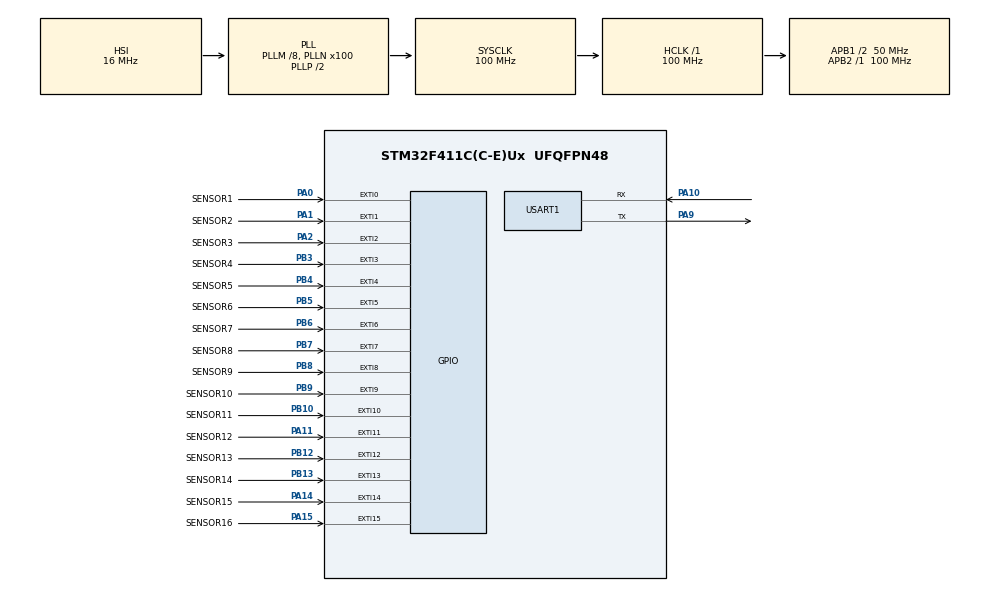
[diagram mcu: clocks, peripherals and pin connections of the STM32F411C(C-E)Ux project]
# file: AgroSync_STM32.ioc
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Dma.Request0=USART1_RX
Dma.Request1=USART1_TX
Dma.USART1_RX.0.Direction=DMA_PERIPH_TO_MEMORY
Dma.USART1_RX.0.FIFOMode=DMA_FIFOMODE_ENABLE
Dma.USART1_RX.0.FIFOThreshold=DMA_FIFO_THRESHOLD_FULL
Dma.USART1_RX.0.Instance=DMA2_Stream2
Dma.USART1_RX.0.MemBurst=DMA_MBURST_SINGLE
Dma.USART1_RX.0.MemDataAlignment=DMA_MDATAALIGN_BYTE
Dma.USART1_RX.0.MemInc=DMA_MINC_ENABLE
Dma.USART1_RX.0.Mode=DMA_CIRCULAR
Dma.USART1_RX.0.PeriphBurst=DMA_PBURST_SINGLE
Dma.USART1_RX.0.PeriphDataAlignment=DMA_PDATAALIGN_BYTE
Dma.USART1_RX.0.PeriphInc=DMA_PINC_DISABLE
Dma.USART1_RX.0.Priority=DMA_PRIORITY_LOW
Dma.USART1_TX.1.Direction=DMA_MEMORY_TO_PERIPH
Dma.USART1_TX.1.FIFOMode=DMA_FIFOMODE_DISABLE
Dma.USART1_TX.1.Instance=DMA2_Stream7
Dma.USART1_TX.1.MemDataAlignment=DMA_MDATAALIGN_BYTE
Dma.USART1_TX.1.MemInc=DMA_MINC_ENABLE
Dma.USART1_TX.1.Mode=DMA_NORMAL
Dma.USART1_TX.1.PeriphDataAlignment=DMA_PDATAALIGN_BYTE
Dma.USART1_TX.1.PeriphInc=DMA_PINC_DISABLE
Dma.USART1_TX.1.Priority=DMA_PRIORITY_LOW
Mcu.Family=STM32F4
Mcu.Name=STM32F411C(C-E)Ux
Mcu.Package=UFQFPN48
NVIC.DMA2_Stream2_IRQn=true\:0\:0\:false\:false\:true\:false\:true\:true
NVIC.DMA2_Stream7_IRQn=true\:0\:0\:false\:false\:true\:false\:true\:true
NVIC.EXTI0_IRQn=true\:0\:0\:false\:false\:true\:true\:true\:true
NVIC.EXTI15_10_IRQn=true\:0\:0\:false\:false\:true\:true\:true\:true
NVIC.EXTI1_IRQn=true\:0\:0\:false\:false\:true\:true\:true\:true
NVIC.EXTI2_IRQn=true\:0\:0\:false\:false\:true\:true\:true\:true
NVIC.EXTI3_IRQn=true\:0\:0\:false\:false\:true\:true\:true\:true
NVIC.EXTI4_IRQn=true\:0\:0\:false\:false\:true\:true\:true\:true
NVIC.EXTI9_5_IRQn=true\:0\:0\:false\:false\:true\:true\:true\:true
NVIC.PriorityGroup=NVIC_PRIORITYGROUP_4
NVIC.TIM1_UP_TIM10_IRQn=true\:0\:0\:false\:false\:true\:true\:true\:true
PA0-WKUP.GPIO_Label=SENSOR1
PA0-WKUP.GPIO_PuPd=GPIO_PULLUP
PA0-WKUP.Signal=GPXTI0
PA1.GPIO_Label=SENSOR2
PA1.GPIO_PuPd=GPIO_PULLUP
PA1.Signal=GPXTI1
PA10.Mode=Asynchronous
PA10.Signal=USART1_RX
PA11.GPIO_Label=SENSOR12
PA11.GPIO_PuPd=GPIO_PULLUP
PA11.Signal=GPXTI11
PA14.GPIO_Label=SENSOR15
PA14.GPIO_PuPd=GPIO_PULLUP
PA14.Signal=GPXTI14
PA15.GPIO_Label=SENSOR16
PA15.GPIO_PuPd=GPIO_PULLUP
PA15.Signal=GPXTI15
PA2.GPIO_Label=SENSOR3
PA2.GPIO_PuPd=GPIO_PULLUP
PA2.Signal=GPXTI2
PA9.Mode=Asynchronous
PA9.Signal=USART1_TX
PB10.GPIO_Label=SENSOR11
PB10.GPIO_PuPd=GPIO_PULLUP
PB10.Signal=GPXTI10
PB12.GPIO_Label=SENSOR13
PB12.GPIO_PuPd=GPIO_PULLUP
PB12.Signal=GPXTI12
PB13.GPIO_Label=SENSOR14
PB13.GPIO_PuPd=GPIO_PULLUP
PB13.Signal=GPXTI13
PB3.GPIO_Label=SENSOR4
PB3.GPIO_PuPd=GPIO_PULLUP
PB3.Signal=GPXTI3
PB4.GPIO_Label=SENSOR5
PB4.GPIO_PuPd=GPIO_PULLUP
PB4.Signal=GPXTI4
PB5.GPIO_Label=SENSOR6
PB5.GPIO_PuPd=GPIO_PULLUP
PB5.Signal=GPXTI5
PB6.GPIO_Label=SENSOR7
PB6.GPIO_PuPd=GPIO_PULLUP
PB6.Signal=GPXTI6
PB7.GPIO_Label=SENSOR8
PB7.GPIO_PuPd=GPIO_PULLUP
PB7.Signal=GPXTI7
PB8.GPIO_Label=SENSOR9
PB8.GPIO_PuPd=GPIO_PULLUP
PB8.Signal=GPXTI8
PB9.GPIO_Label=SENSOR10
PB9.GPIO_PuPd=GPIO_PULLUP
PB9.Signal=GPXTI9
PC14-OSC32_IN.Mode=LSE-External-Oscillator
PC14-OSC32_IN.Signal=RCC_OSC32_IN
PC15-OSC32_OUT.Mode=LSE-External-Oscillator
PC15-OSC32_OUT.Signal=RCC_OSC32_OUT
PH0\ -\ OSC_IN.Mode=HSE-External-Oscillator
PH0\ -\ OSC_IN.Signal=RCC_OSC_IN
PH1\ -\ OSC_OUT.Mode=HSE-External-Oscillator
PH1\ -\ OSC_OUT.Signal=RCC_OSC_OUT
ProjectManager.HeapSize=0x200
ProjectManager.StackSize=0x400
ProjectManager.TargetToolchain=STM32CubeIDE
RCC.48MHZClocksFreq_Value=50000000
RCC.AHBFreq_Value=100000000
RCC.APB1CLKDivider=RCC_HCLK_DIV2
RCC.APB1Freq_Value=50000000
RCC.APB1TimFreq_Value=100000000
RCC.APB2Freq_Value=100000000
RCC.APB2TimFreq_Value=100000000
RCC.CortexFreq_Value=100000000
RCC.HCLKFreq_Value=100000000
RCC.HSE_VALUE=25000000
RCC.HSI_VALUE=16000000
RCC.PLLM=8
RCC.PLLN=100
RCC.SYSCLKFreq_VALUE=100000000
RCC.SYSCLKSource=RCC_SYSCLKSOURCE_PLLCLK
RCC.VCOOutputFreq_Value=200000000
TIM10.Period=999
TIM10.Prescaler=99
TIM5.Prescaler=99
USART1.VirtualMode=VM_ASYNC
VP_TIM10_VS_ClockSourceINT.Mode=Enable_Timer
VP_TIM5_VS_ClockSourceINT.Mode=Internal
board=custom

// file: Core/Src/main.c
/* USER CODE BEGIN Header */
/**
 ******************************************************************************
 * @file           : main.c
 * @brief          : Main program body
 ******************************************************************************
 * @attention
 *
 * Copyright (c) 2025 STMicroelectronics.
 * All rights reserved.
 *
 * This software is licensed under terms that can be found in the LICENSE file
 * in the root directory of this software component.
 * If no LICENSE file comes with this software, it is provided AS-IS.
 *
 ******************************************************************************
 */
/* USER CODE END Header */
#include "main.h"

/* USER CODE BEGIN Includes */
#include "stdio.h"
#include "math.h"
#include "string.h"
/* USER CODE END Includes */

/* USER CODE BEGIN PD */
#define buffer_size 40
#define N_sense 16
#define TX_FIFO_SIZE 8
#define TX_MAX_SIZE 64
/* USER CODE END PD */

TIM_HandleTypeDef htim5;
TIM_HandleTypeDef htim10;

UART_HandleTypeDef huart1;
DMA_HandleTypeDef hdma_usart1_rx;
DMA_HandleTypeDef hdma_usart1_tx;

/* USER CODE BEGIN PV */
//-----------------------Variáveis de controle de taxa ----------------------------
volatile uint32_t last_tick[16] = { 0, 0, 0, 0, 0, 0, 0, 0, 0, 0, 0, 0, 0, 0, 0, 0 };
volatile float freq[N_sense] = { 0, 0, 0, 0, 0, 0, 0, 0, 0, 0, 0, 0, 0, 0, 0, 0 };
uint8_t freq_SD[N_sense * 2] = { 0, 0, 0, 0, 0, 0, 0, 0, 0, 0, 0, 0, 0, 0, 0, 0, 0, 0, 0,
		0, 0, 0, 0, 0, 0, 0, 0, 0, 0, 0, 0, 0 };
volatile uint16_t cont_seed[N_sense] = { 0, 0, 0, 0, 0, 0, 0, 0, 0, 0, 0, 0, 0, 0, 0, 0 };
uint8_t cont_seed_SD[N_sense * 2] = { 0, 0, 0, 0, 0, 0, 0, 0, 0, 0, 0, 0, 0, 0,
		0, 0, 0, 0, 0, 0, 0, 0, 0, 0, 0, 0, 0, 0, 0, 0, 0, 0 };
volatile uint32_t cont_send_seed = 0;
volatile uint32_t cont_send_freq = 0;
uint32_t temp_send_seed = 300;
uint32_t temp_send_freq = 300;
volatile uint32_t cont_zero[N_sense] = { 0, 0, 0, 0, 0, 0, 0, 0, 0, 0, 0, 0, 0, 0, 0, 0 };
// ----------- Variáveis de controle de envio e recebimento de mensagens -------------------
uint8_t bufferRx[buffer_size] = { 0, 0, 0, 0, 0, 0, 0, 0, 0, 0, 0, 0, 0, 0, 0,
		0, 0, 0, 0, 0, 0, 0, 0, 0, 0, 0, 0, 0, 0, 0, 0, 0, 0, 0, 0, 0, 0, 0, 0,
		0 };
uint8_t message_RX[buffer_size] = { 0, 0, 0, 0, 0, 0, 0, 0, 0, 0, 0, 0, 0, 0, 0,
		0, 0, 0, 0, 0, 0, 0, 0, 0, 0, 0, 0, 0, 0, 0, 0, 0, 0, 0, 0, 0, 0, 0, 0,
		0 };

// ---------------- CONFIGURAÇÕES FIFO UART TX ----------------
uint8_t uart_tx_fifo[TX_FIFO_SIZE][TX_MAX_SIZE];
uint16_t uart_tx_len[TX_FIFO_SIZE];
volatile uint8_t tx_head = 0;
volatile uint8_t tx_tail = 0;
volatile uint8_t tx_busy = 0;

/* USER CODE END PV */

void SystemClock_Config(void);
static void MX_GPIO_Init(void);
static void MX_DMA_Init(void);
static void MX_USART1_UART_Init(void);
static void MX_TIM5_Init(void);
static void MX_TIM10_Init(void);
/* USER CODE BEGIN PFP */
float FreqCalculate(uint32_t sensor_index, TIM_HandleTypeDef *htim);
static void clean_buffer_rx_BLE(void);
static void handles_BLE_message(uint8_t message[], uint16_t size);
static void send_uart_TX(uint8_t id, uint8_t dlc, uint8_t data[]);
void UART_Send_DMA(uint8_t *data, uint16_t size);
/* USER CODE END PFP */

int main(void)
{

  /* MCU Configuration--------------------------------------------------------*/

  /* Reset of all peripherals, Initializes the Flash interface and the Systick. */
  HAL_Init();

  /* Configure the system clock */
  SystemClock_Config();

  /* Initialize all configured peripherals */
  MX_GPIO_Init();
  MX_DMA_Init();
  MX_USART1_UART_Init();
  MX_TIM5_Init();
  MX_TIM10_Init();
  /* USER CODE BEGIN 2 */
	HAL_UARTEx_ReceiveToIdle_DMA(&huart1, bufferRx, buffer_size);
	__HAL_DMA_ENABLE_IT(huart1.hdmarx, DMA_IT_HT);
	HAL_TIM_Base_Start_IT(&htim10);
	HAL_TIM_Base_Start(&htim5);
  /* USER CODE END 2 */

  /* Infinite loop */
  /* USER CODE BEGIN WHILE */
	while (1) {
		// Verifica se parou a interrupção de sinal dos sensores para zerar
		for (int i = 0; i < 16; i++) {
			if (cont_zero[i] > 500) {
				freq[i] = 0;
			}
		}
		// Envio da frequencia de semente
		if (cont_send_freq > temp_send_freq) {
			for (int i = 0; i < 16; i++) {
				// 1) escala e arredonda
				float frq = freq[i] * 100.0f;
				long frqr = lroundf(frq);
				// 2) satura no range de 16 bits sem sinal
				if (frqr < 0)
					frqr = 0;
				if (frqr > 65535L)
					frqr = 65535L;

				uint16_t send_frq = (uint16_t) frqr;

				freq_SD[2 * i] = (uint8_t) ((send_frq >> 8) & 0xFF);
				freq_SD[2 * i + 1] = (uint8_t) (send_frq & 0xFF);
			}

			cont_send_freq = 0; // reset de contagem para novo envio
			send_uart_TX(2, 32, freq_SD);
		}
		// envio da contagem de semente para média
		if (cont_send_seed > temp_send_seed) {
			for (int i = 0; i < N_sense; i++) {

				cont_seed_SD[2 * i] = (uint8_t) ((cont_seed[i] >> 8) & 0xFF);
				cont_seed_SD[2 * i + 1] = (uint8_t) (cont_seed[i] & 0xFF);

				//zerar após converter para envio
				cont_seed[i] = 0;
			}
			cont_send_seed = 0; // reset de contagem do timer de envio
			send_uart_TX(1, 32, cont_seed_SD);
		}

    /* USER CODE END WHILE */

	}
}

void SystemClock_Config(void)
{
  RCC_OscInitTypeDef RCC_OscInitStruct = {0};
  RCC_ClkInitTypeDef RCC_ClkInitStruct = {0};

  /** Configure the main internal regulator output voltage
  */
  __HAL_RCC_PWR_CLK_ENABLE();
  __HAL_PWR_VOLTAGESCALING_CONFIG(PWR_REGULATOR_VOLTAGE_SCALE1);

  /** Initializes the RCC Oscillators according to the specified parameters
  * in the RCC_OscInitTypeDef structure.
  */
  RCC_OscInitStruct.OscillatorType = RCC_OSCILLATORTYPE_HSI;
  RCC_OscInitStruct.HSIState = RCC_HSI_ON;
  RCC_OscInitStruct.HSICalibrationValue = RCC_HSICALIBRATION_DEFAULT;
  RCC_OscInitStruct.PLL.PLLState = RCC_PLL_ON;
  RCC_OscInitStruct.PLL.PLLSource = RCC_PLLSOURCE_HSI;
  RCC_OscInitStruct.PLL.PLLM = 8;
  RCC_OscInitStruct.PLL.PLLN = 100;
  RCC_OscInitStruct.PLL.PLLP = RCC_PLLP_DIV2;
  RCC_OscInitStruct.PLL.PLLQ = 4;
  if (HAL_RCC_OscConfig(&RCC_OscInitStruct) != HAL_OK)
  {
    Error_Handler();
  }

  /** Initializes the CPU, AHB and APB buses clocks
  */
  RCC_ClkInitStruct.ClockType = RCC_CLOCKTYPE_HCLK|RCC_CLOCKTYPE_SYSCLK
                              |RCC_CLOCKTYPE_PCLK1|RCC_CLOCKTYPE_PCLK2;
  RCC_ClkInitStruct.SYSCLKSource = RCC_SYSCLKSOURCE_PLLCLK;
  RCC_ClkInitStruct.AHBCLKDivider = RCC_SYSCLK_DIV1;
  RCC_ClkInitStruct.APB1CLKDivider = RCC_HCLK_DIV2;
  RCC_ClkInitStruct.APB2CLKDivider = RCC_HCLK_DIV1;

  if (HAL_RCC_ClockConfig(&RCC_ClkInitStruct, FLASH_LATENCY_3) != HAL_OK)
  {
    Error_Handler();
  }
}

static void MX_TIM5_Init(void)
{

  TIM_ClockConfigTypeDef sClockSourceConfig = {0};
  TIM_MasterConfigTypeDef sMasterConfig = {0};

  htim5.Instance = TIM5;
  htim5.Init.Prescaler = 99;
  htim5.Init.CounterMode = TIM_COUNTERMODE_UP;
  htim5.Init.Period = 4294967295;
  htim5.Init.ClockDivision = TIM_CLOCKDIVISION_DIV1;
  htim5.Init.AutoReloadPreload = TIM_AUTORELOAD_PRELOAD_DISABLE;
  if (HAL_TIM_Base_Init(&htim5) != HAL_OK)
  {
    Error_Handler();
  }
  sClockSourceConfig.ClockSource = TIM_CLOCKSOURCE_INTERNAL;
  if (HAL_TIM_ConfigClockSource(&htim5, &sClockSourceConfig) != HAL_OK)
  {
    Error_Handler();
  }
  sMasterConfig.MasterOutputTrigger = TIM_TRGO_RESET;
  sMasterConfig.MasterSlaveMode = TIM_MASTERSLAVEMODE_DISABLE;
  if (HAL_TIMEx_MasterConfigSynchronization(&htim5, &sMasterConfig) != HAL_OK)
  {
    Error_Handler();
  }

}

static void MX_TIM10_Init(void)
{

  htim10.Instance = TIM10;
  htim10.Init.Prescaler = 99;
  htim10.Init.CounterMode = TIM_COUNTERMODE_UP;
  htim10.Init.Period = 999;
  htim10.Init.ClockDivision = TIM_CLOCKDIVISION_DIV1;
  htim10.Init.AutoReloadPreload = TIM_AUTORELOAD_PRELOAD_DISABLE;
  if (HAL_TIM_Base_Init(&htim10) != HAL_OK)
  {
    Error_Handler();
  }

}

static void MX_USART1_UART_Init(void)
{

  huart1.Instance = USART1;
  huart1.Init.BaudRate = 115200;
  huart1.Init.WordLength = UART_WORDLENGTH_8B;
  huart1.Init.StopBits = UART_STOPBITS_1;
  huart1.Init.Parity = UART_PARITY_NONE;
  huart1.Init.Mode = UART_MODE_TX_RX;
  huart1.Init.HwFlowCtl = UART_HWCONTROL_NONE;
  huart1.Init.OverSampling = UART_OVERSAMPLING_16;
  if (HAL_UART_Init(&huart1) != HAL_OK)
  {
    Error_Handler();
  }

}

static void MX_DMA_Init(void)
{

  /* DMA controller clock enable */
  __HAL_RCC_DMA2_CLK_ENABLE();

  /* DMA interrupt init */
  /* DMA2_Stream2_IRQn interrupt configuration */
  HAL_NVIC_SetPriority(DMA2_Stream2_IRQn, 0, 0);
  HAL_NVIC_EnableIRQ(DMA2_Stream2_IRQn);
  /* DMA2_Stream7_IRQn interrupt configuration */
  HAL_NVIC_SetPriority(DMA2_Stream7_IRQn, 0, 0);
  HAL_NVIC_EnableIRQ(DMA2_Stream7_IRQn);

}

static void MX_GPIO_Init(void)
{
  GPIO_InitTypeDef GPIO_InitStruct = {0};

  /* GPIO Ports Clock Enable */
  __HAL_RCC_GPIOC_CLK_ENABLE();
  __HAL_RCC_GPIOH_CLK_ENABLE();
  __HAL_RCC_GPIOA_CLK_ENABLE();
  __HAL_RCC_GPIOB_CLK_ENABLE();

  /*Configure GPIO pins : SENSOR1_Pin SENSOR2_Pin SENSOR3_Pin SENSOR12_Pin
                           SENSOR15_Pin SENSOR16_Pin */
  GPIO_InitStruct.Pin = SENSOR1_Pin|SENSOR2_Pin|SENSOR3_Pin|SENSOR12_Pin
                          |SENSOR15_Pin|SENSOR16_Pin;
  GPIO_InitStruct.Mode = GPIO_MODE_IT_RISING;
  GPIO_InitStruct.Pull = GPIO_PULLUP;
  HAL_GPIO_Init(GPIOA, &GPIO_InitStruct);

  /*Configure GPIO pins : SENSOR11_Pin SENSOR13_Pin SENSOR14_Pin SENSOR4_Pin
                           SENSOR5_Pin SENSOR6_Pin SENSOR7_Pin SENSOR8_Pin
                           SENSOR9_Pin SENSOR10_Pin */
  GPIO_InitStruct.Pin = SENSOR11_Pin|SENSOR13_Pin|SENSOR14_Pin|SENSOR4_Pin
                          |SENSOR5_Pin|SENSOR6_Pin|SENSOR7_Pin|SENSOR8_Pin
                          |SENSOR9_Pin|SENSOR10_Pin;
  GPIO_InitStruct.Mode = GPIO_MODE_IT_RISING;
  GPIO_InitStruct.Pull = GPIO_PULLUP;
  HAL_GPIO_Init(GPIOB, &GPIO_InitStruct);

  /* EXTI interrupt init*/
  HAL_NVIC_SetPriority(EXTI0_IRQn, 0, 0);
  HAL_NVIC_EnableIRQ(EXTI0_IRQn);

  HAL_NVIC_SetPriority(EXTI1_IRQn, 0, 0);
  HAL_NVIC_EnableIRQ(EXTI1_IRQn);

  HAL_NVIC_SetPriority(EXTI2_IRQn, 0, 0);
  HAL_NVIC_EnableIRQ(EXTI2_IRQn);

  HAL_NVIC_SetPriority(EXTI3_IRQn, 0, 0);
  HAL_NVIC_EnableIRQ(EXTI3_IRQn);

  HAL_NVIC_SetPriority(EXTI4_IRQn, 0, 0);
  HAL_NVIC_EnableIRQ(EXTI4_IRQn);

  HAL_NVIC_SetPriority(EXTI9_5_IRQn, 0, 0);
  HAL_NVIC_EnableIRQ(EXTI9_5_IRQn);

  HAL_NVIC_SetPriority(EXTI15_10_IRQn, 0, 0);
  HAL_NVIC_EnableIRQ(EXTI15_10_IRQn);

}

/* USER CODE BEGIN 4 */
void HAL_GPIO_EXTI_Callback(uint16_t GPIO_Pin) {

	if (GPIO_Pin == SENSOR1_Pin) {
		// ação desejada, por exemplo, incrementar contador
		cont_zero[0] = 0;
		cont_seed[0]++;
		freq[0] = FreqCalculate(0, &htim5);
	}
	if (GPIO_Pin == SENSOR2_Pin) {
		// ação desejada, por exemplo, incrementar contador
		cont_zero[1] = 0;
		cont_seed[1]++;
		freq[1] = FreqCalculate(1, &htim5);
	}
	if (GPIO_Pin == SENSOR3_Pin) {
		// ação desejada, por exemplo, incrementar contador
		cont_zero[2] = 0;
		cont_seed[2]++;
		freq[2] = FreqCalculate(2, &htim5);
	}
	if (GPIO_Pin == SENSOR4_Pin) {
		// ação desejada, por exemplo, incrementar contador
		cont_zero[3] = 0;
		cont_seed[3]++;
		freq[3] = FreqCalculate(3, &htim5);
	}
	if (GPIO_Pin == SENSOR5_Pin) {
		// ação desejada, por exemplo, incrementar contador
		cont_zero[4] = 0;
		cont_seed[4]++;
		freq[4] = FreqCalculate(4, &htim5);
	}
	if (GPIO_Pin == SENSOR6_Pin) {
		// ação desejada, por exemplo, incrementar contador
		cont_zero[5] = 0;
		cont_seed[5]++;
		freq[5] = FreqCalculate(5, &htim5);
	}
	if (GPIO_Pin == SENSOR7_Pin) {
		// ação desejada, por exemplo, incrementar contador
		cont_zero[6] = 0;
		cont_seed[6]++;
		freq[6] = FreqCalculate(6, &htim5);
	}
	if (GPIO_Pin == SENSOR8_Pin) {
		// ação desejada, por exemplo, incrementar contador
		cont_zero[7] = 0;
		cont_seed[7]++;
		freq[7] = FreqCalculate(7, &htim5);
	}
	if (GPIO_Pin == SENSOR9_Pin) {
		// ação desejada, por exemplo, incrementar contador
		cont_zero[8] = 0;
		cont_seed[8]++;
		freq[8] = FreqCalculate(8, &htim5);
	}
	if (GPIO_Pin == SENSOR10_Pin) {
		// ação desejada, por exemplo, incrementar contador
		cont_zero[9] = 0;
		cont_seed[9]++;
		freq[9] = FreqCalculate(9, &htim5);
	}
	if (GPIO_Pin == SENSOR11_Pin) {
		// ação desejada, por exemplo, incrementar contador
		cont_zero[10] = 0;
		cont_seed[10]++;
		freq[10] = FreqCalculate(10, &htim5);
	}
	if (GPIO_Pin == SENSOR12_Pin) {
		// ação desejada, por exemplo, incrementar contador
		cont_zero[11] = 0;
		cont_seed[11]++;
		freq[11] = FreqCalculate(11, &htim5);
	}
	if (GPIO_Pin == SENSOR13_Pin) {
		// ação desejada, por exemplo, incrementar contador
		cont_zero[12] = 0;
		cont_seed[12]++;
		freq[12] = FreqCalculate(12, &htim5);
	}
	if (GPIO_Pin == SENSOR14_Pin) {
		// ação desejada, por exemplo, incrementar contador
		cont_zero[13] = 0;
		cont_seed[13]++;
		freq[13] = FreqCalculate(13, &htim5);
	}
	if (GPIO_Pin == SENSOR15_Pin) {
		// ação desejada, por exemplo, incrementar contador
		cont_zero[14] = 0;
		cont_seed[14]++;
		freq[14] = FreqCalculate(14, &htim5);
	}
	if (GPIO_Pin == SENSOR16_Pin) {
		// ação desejada, por exemplo, incrementar contador
		cont_zero[15] = 0;
		cont_seed[15]++;
		freq[15] = FreqCalculate(15, &htim5);
	}
}

float FreqCalculate(uint32_t sensor_index, TIM_HandleTypeDef *htim) {
	if (sensor_index >= 16) // verificação de estouro de index
		return 0.0f;

	uint32_t current_tick = __HAL_TIM_GET_COUNTER(htim);
	uint32_t delta;

	if (current_tick >= last_tick[sensor_index])
		delta = current_tick - last_tick[sensor_index];
	else
		delta = (0xFFFFFFFF - last_tick[sensor_index]) + current_tick + 1;

	last_tick[sensor_index] = current_tick;

	if (delta == 0) {
		return 0.0f;
	}

	return (HAL_RCC_GetPCLK1Freq() * 2) / ((htim->Init.Prescaler + 1) * delta); // retorna frequencia

}

//-----------------------Tratativas de recebimento de mensagem e envio -------------------------------------------------
void HAL_UARTEx_RxEventCallback(UART_HandleTypeDef *huart, uint16_t Size) {

	if (huart->Instance == USART1) {

		HAL_UART_AbortReceive(&huart1);
		uint8_t message_size = 0;
		uint8_t capture = 0;

		for (uint16_t i = 0; i < Size; i++) {
			uint8_t byte = bufferRx[i];

			if (byte == '@')  // Detecta início da mensagem
					{
				message_size = 0;
				capture = 1;
			}
			if (capture)  // Captura mensagem até o finalizador '\n'
			{
				if (byte == '\n' && message_size == message_RX[2] + 3) {
					capture = 0;  // Para captura
					message_RX[message_size++] = byte; // inclusão do \n na mensagem
					handles_BLE_message(message_RX, message_size); // Processa a mensagem
					clean_buffer_rx_BLE();
				} else if (message_size < buffer_size - 1) // Evita overflow
						{
					message_RX[message_size++] = byte;
				}
			}
		}

		HAL_UARTEx_ReceiveToIdle_DMA(&huart1, bufferRx,
		buffer_size);
		__HAL_DMA_DISABLE_IT(huart->hdmarx, DMA_IT_HT); // Desativa interrupção de Half Transfer (opcional)
		__HAL_DMA_ENABLE_IT(huart->hdmarx, DMA_IT_TC); // Mantém interrupção de Transfer Complete
	}
}

void handles_BLE_message(uint8_t message[], uint16_t size) {

	if (size == message[2] + 4) {
		uint8_t id = message[1];
		uint8_t dlc = message[2];
		uint8_t message_BLE[dlc];

		for (int i = 3, j = 0; i < dlc + 2; i++, j++) {
			message_BLE[j] = message[i];
		}
		//Tratamento das mensagens recebidas

		if (id == 3) {

			temp_send_seed = ((message_BLE[0] << 8) | message_BLE[1]);
		}
		if (id == 4) {

			temp_send_freq = ((message_BLE[0] << 8) | message_BLE[1]);
		}
	}
}

void clean_buffer_rx_BLE() {
	 memset(bufferRx,  0, sizeof(bufferRx));
	 memset(message_RX, 0, sizeof(message_RX));
}

void send_uart_TX(uint8_t id, uint8_t dlc, uint8_t data[]) {

	uint8_t buffer_BLE_tx[dlc + 4];

	buffer_BLE_tx[0] = '@';
	buffer_BLE_tx[1] = id;
	buffer_BLE_tx[2] = dlc;
	for (int i = 3, j = 0; i < dlc + 3; i++, j++) {
		buffer_BLE_tx[i] = data[j];
	}
	buffer_BLE_tx[dlc + 3] = '\n';

// Envia via DMA com FIFO
	HAL_UART_Transmit(&huart1, buffer_BLE_tx, dlc + 4, 20);
	//UART_Send_DMA(buffer_BLE_tx, dlc + 4);
}
// ---------------- ENVIO UART DMA COM FIFO ----------------
void UART_Send_DMA(uint8_t *data, uint16_t size) {
// Copia mensagem para FIFO
	memcpy(uart_tx_fifo[tx_head], data, size);
	uart_tx_len[tx_head] = size;
	tx_head = (tx_head + 1) % TX_FIFO_SIZE;

// Se DMA estiver livre, inicia transmissão
	if (!tx_busy) {
		tx_busy = 1;
		HAL_UART_Transmit_DMA(&huart1, uart_tx_fifo[tx_tail],
				uart_tx_len[tx_tail]);
	}
}

// ---------------- CALLBACK DE TX COMPLETA ----------------
void HAL_UART_TxCpltCallback(UART_HandleTypeDef *huart) {
	if (huart->Instance == USART1) {
		tx_tail = (tx_tail + 1) % TX_FIFO_SIZE;

		// Verifica se há mais mensagens na fila
		if (tx_tail != tx_head) {
			HAL_UART_Transmit_DMA(&huart1, uart_tx_fifo[tx_tail],
					uart_tx_len[tx_tail]);
		} else {
			tx_busy = 0; // Fila vazia
		}
	}
}

//-------------------- FUNÇÃO DE TIMER--------------------
void HAL_TIM_PeriodElapsedCallback(TIM_HandleTypeDef *htim) {
	if (htim->Instance == TIM10) {
		// Código a executar no estouro do timer
		if (cont_send_seed < temp_send_seed + 2) {
			cont_send_seed++;
		}
		if (cont_send_freq < temp_send_freq + 2) {
			cont_send_freq++;
		}
		for (int i = 0; i < 16; i++) {
			if (cont_zero[i] < 502) {
				cont_zero[i]++;
			}
		}
	}
}

/* USER CODE END 4 */

void Error_Handler(void)
{
	__disable_irq();
	while (1) {
	}
}
